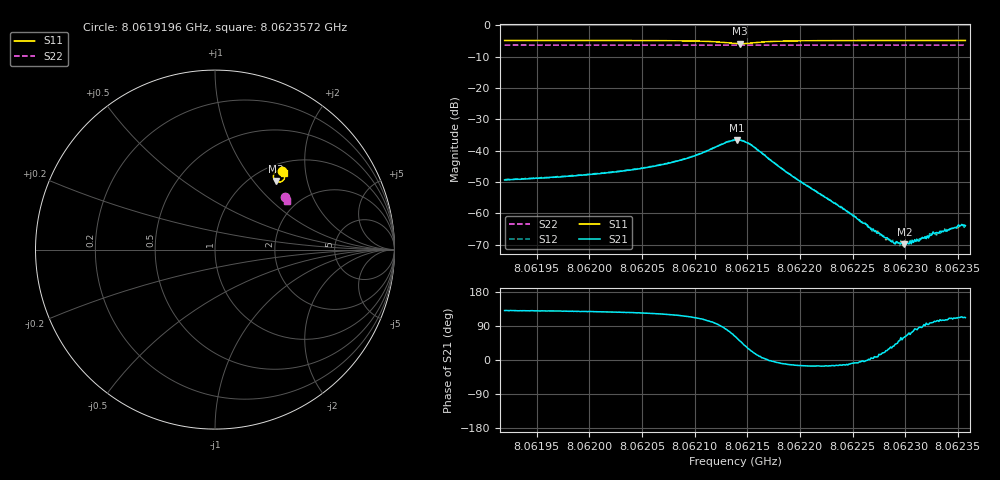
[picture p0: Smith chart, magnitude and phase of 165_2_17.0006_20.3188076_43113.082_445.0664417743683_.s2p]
#  HZ  S  RI  R  50.00
! Rohde & Schwarz Vector Network Analyzer
! Rohde-Schwarz,ZNB20-2Port,1311601062101988,3.16
! Created: UTC 3/20/2024, 10:59:25 PM
! freq[Hz]  re:S11  im:S11  re:S21  im:S21  re:S12  im:S12  re:S22  im:S22
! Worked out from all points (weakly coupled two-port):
!   401 points, 8.0619196 GHz to 8.0623572 GHz, reference 50 ohm
!   highest |S21| = -36.55 dB at 8.0621406 GHz (marker M1); lowest = -69.9 dB at 8.0622992 GHz (marker M2)
!   lowest |S11| = -5.8 dB at 8.0621428 GHz (marker M3), VSWR 3.09, Z = 63.2 + j65.4 ohm
!   |S11| at or under -10 dB: nowhere
!   |S22| runs from -6.3 to -6.3 dB; largest |S21 - S12| = 0.0011
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8.06191962e9  0.3712 0.4401  -0.00222 0.00259  -0.00206 0.00274  0.3875 0.2928
8.06199291e9  0.3773 0.4342  -0.0025 0.00317  -0.00236 0.00337  0.3901 0.2892
8.06206621e9  0.3849 0.4234  -0.00309 0.00498  -0.00284 0.0052  0.3926 0.2851
8.06209793e9  0.3886 0.4109  -0.00313 0.0074  -0.00269 0.00769  0.3936 0.2831
8.06213841e9  0.3495 0.3772  0.00681 0.0132  0.00774 0.0128  0.3925 0.2805
8.0621406e9  0.3435 0.3792  0.00814 0.0124  0.00898 0.0119  0.3923 0.2804
8.06214278e9  0.3378 0.3827  0.00938 0.0114  0.0101 0.0109  0.3922 0.2808
8.06215482e9  0.3257 0.4125  0.0111 0.00451  0.0115 0.00383  0.3925 0.2816
8.06218545e9  0.3526 0.4392  0.00472 -0.000856  0.0047 -0.00113  0.3953 0.281
8.0622117e9  0.3649 0.4386  0.00233 -0.000666  0.00233 -0.000809  0.3965 0.2793
8.06224124e9  0.3721 0.4363  0.00113 -0.00025  0.00114 -0.000317  0.3977 0.2778
8.0622664e9  0.3762 0.4343  0.000596 4.91e-06  0.000603 -8.4e-06  0.3988 0.2766
8.06227187e9  0.3769 0.4338  0.000521 7.21e-05  0.000524 3.79e-05  0.3989 0.2763
8.062285e9  0.3785 0.4328  0.000332 0.000191  0.000311 0.000163  0.3993 0.2755
8.06228828e9  0.379 0.4325  0.000285 0.000207  0.000297 0.00022  0.3994 0.2755
8.06229265e9  0.3794 0.4321  0.000249 0.000241  0.000262 0.000226  0.3995 0.2753
8.06229922e9  0.38 0.4318  0.00016 0.000279  0.000184 0.000312  0.3998 0.2749
8.06232e9  0.382 0.4303  -5e-05 0.000391  1.87e-06 0.000407  0.4005 0.2738
8.06232547e9  0.3826 0.4299  -6.92e-05 0.000456  -8.46e-05 0.000451  0.4007 0.2735
8.06232766e9  0.383 0.4299  -9.95e-05 0.000462  -5.41e-05 0.000456  0.4007 0.2734
8.06235173e9  0.385 0.4282  -0.000234 0.00058  -0.000221 0.000601  0.4015 0.2721
8.0623572e9  0.3853 0.4281  -0.000238 0.000589  -0.000233 0.000596  0.4018 0.2719
